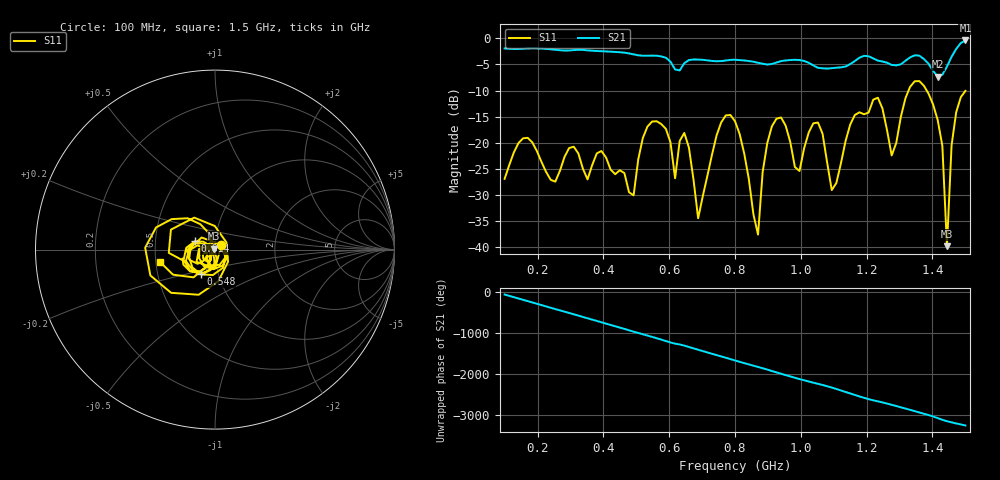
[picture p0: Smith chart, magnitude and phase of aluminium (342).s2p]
! NanoVNA-App
! Date: 2025-09-25 14:57:56
! Start: 100MHz Stop: 1,5GHz Points: 101
! S-Parameter data: F S11 S21 S12 S22
# Hz S RI R 50
!  Frequency  S11_Real  S11_Imag  S21_Real  S21_Imag  S12_Real  S12_Imag  S22_Real  S22_Imag
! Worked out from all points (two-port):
!   101 points, 100 MHz to 1.5 GHz, reference 50 ohm
!   highest |S21| = -0.39 dB at 1.5 GHz (marker M1); lowest = -7.3 dB at 1.416 GHz (marker M2)
!   |S21| within 3 dB of the highest: start of sweep to 569.2 MHz; 1.459 GHz to end of sweep (the widest 2 of 4)
!   lowest |S11| = -39.9 dB at 1.444 GHz (marker M3), VSWR 1.02, Z = 49.2 + j0.576 ohm
!   |S11| at or under -10 dB: start of sweep to 1.327 GHz; 1.382 GHz to end of sweep
!   S12 and S22 are empty: the file has one direction only
!   S11 on the Smith chart (normalised r, x): 100 MHz: 1.07, +0.06; 548 MHz: 0.82, -0.23; 814 MHz: 0.80, +0.07; 1.5 GHz: 0.53, -0.08
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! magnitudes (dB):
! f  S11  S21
! 100 MHz  -27.0  -1.9
! 338 MHz  -25.0  -2.2
! 492 MHz  -30.1  -3.1
! 548 MHz  -16.0  -3.3
! 576 MHz  -16.4  -3.5
! 618 MHz  -26.9  -6.0
! 646 MHz  -18.2  -4.8
! 688 MHz  -34.5  -4.1
! 800 MHz  -15.9  -4.1
! 814 MHz  -18.3  -4.2
! 870 MHz  -37.7  -4.7
! 912 MHz  -16.9  -4.9
! 996 MHz  -25.5  -4.1
! 1.038 GHz  -16.3  -5.2
! 1.094 GHz  -29.1  -5.7
! 1.22 GHz  -11.8  -3.8
! 1.276 GHz  -22.5  -5.1
! 1.346 GHz  -8.2  -3.2
! 1.416 GHz  -15.7  -7.3
! 1.444 GHz  -39.9  -5.4
! 1.458 GHz  -20.5  -3.5
! 1.5 GHz  -10.1  -0.4
